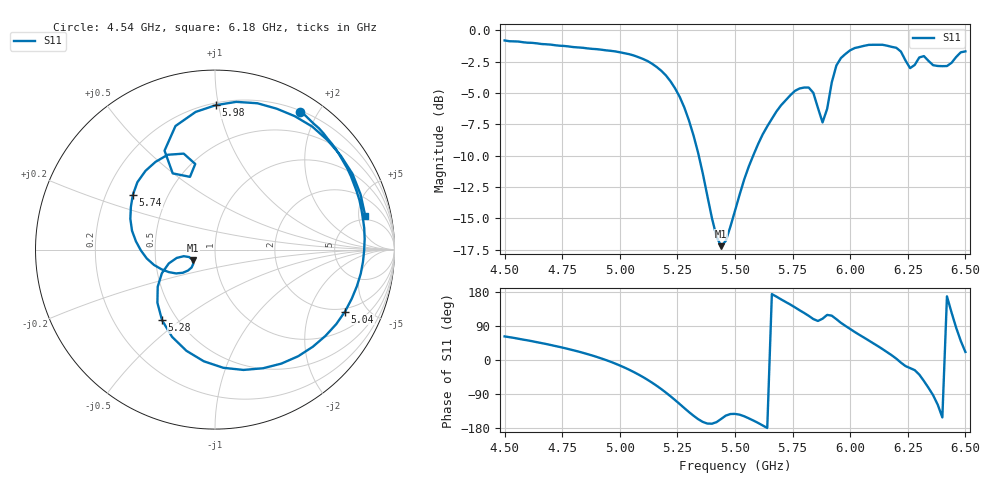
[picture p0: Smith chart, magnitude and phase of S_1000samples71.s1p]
! TOUCHSTONE file generated by CST MICROWAVE STUDIO
! Date and time: Wed Oct 26 21:30:38 2022
! Project name: L.cst
! Parameters = {Di=1.27; Epsilon_r=1.56; InnerDiameter=1.27; Length=2; Lf=10; Lg=60; OuterConductorThickness=0.2921; OuterDiameter=3.6; Wf=3; Wp=41.2; de=1.5; df=6.8; g=0.8; gx=2.35533; gy=0.642925; h=2.34; hf=1.524; px=9.37173; py=12.4734; w=9.7; wx=7.0164; wy=11.8305}
! Header version: 2018
! Port assignment regex: !\s*Touchstone port\s*([0-9]+)\s*=\s*(CST MWS port|CST DS port)\s*([0-9]+|Zmin|Zmax)\s*\(\"(.*)\"\)(\s*mode\s*([0-9]+))?.*
! Touchstone port assignment:
! Touchstone port 1 = CST MWS port 1 ("")
# GHz S DB R 50
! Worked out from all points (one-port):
!   101 points, 4.5 GHz to 6.5 GHz, reference 50 ohm
!   lowest |S11| = -17.2 dB at 5.44 GHz (marker M1), VSWR 1.32, Z = 38.7 - j4.51 ohm
!   |S11| at or under -10 dB: 5.343 GHz to 5.579 GHz (236.6 MHz wide, 4.33 % of centre)
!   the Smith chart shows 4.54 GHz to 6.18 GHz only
!   S11 on the Smith chart (normalised r, x): 4.54 GHz: 0.21, +1.77; 5.04 GHz: 1.83, -3.54; 5.28 GHz: 0.41, -0.43; 5.74 GHz: 0.31, +0.27; 5.98 GHz: 0.22, +0.98; 6.18 GHz: 4.28, +6.09
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4.5  -0.82 62.3
4.54  -0.89 58.4
4.76  -1.26 31.5
5  -1.76 -14.5
5.04  -1.91 -25.5
5.16  -2.94 -68.0
5.26  -5.32 -116.2
5.28  -6.16 -126.9
5.36  -11.41 -163.4
5.44  -17.23 -155.4
5.5  -14.41 -142.2
5.6  -9.10 -165.9
5.74  -5.19 146.4
5.76  -4.84 139.0
5.86  -6.20 103.0
5.9  -6.27 119.0
5.98  -1.89 89.7
6  -1.60 81.8
6.08  -1.17 51.7
6.18  -1.33 12.6
6.26  -3.03 -21.4
6.3  -2.17 -38.6
6.36  -2.79 -93.0
6.38  -2.86 -118.0
6.42  -2.86 168.0
6.44  -2.60 125.1
6.46  -2.14 85.1
6.5  -1.69 21.2
